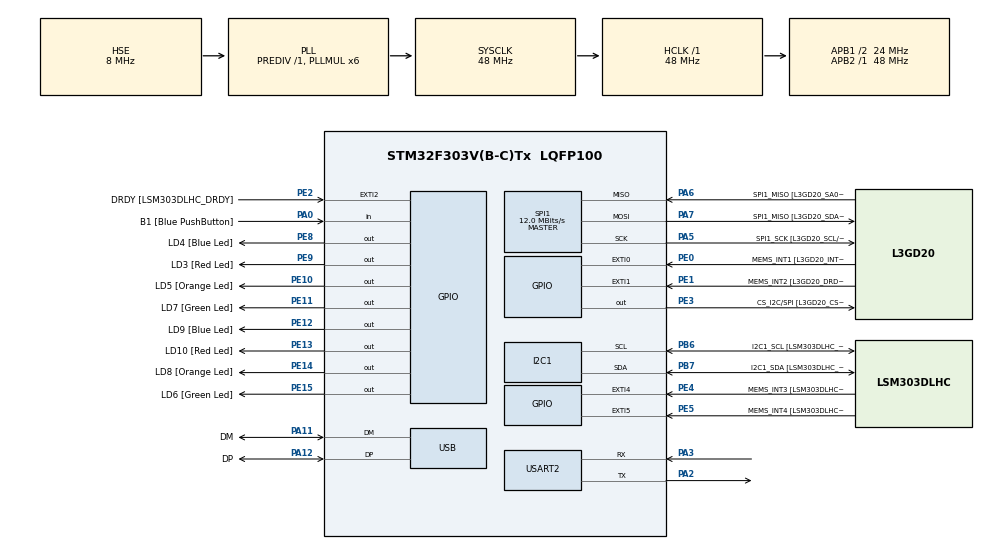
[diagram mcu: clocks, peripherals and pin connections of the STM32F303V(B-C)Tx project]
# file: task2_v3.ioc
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I2C1.Timing=0x00201D2B
I2C1.Timing-I2C=0x2000090E
Mcu.Family=STM32F3
Mcu.Name=STM32F303V(B-C)Tx
Mcu.Package=LQFP100
NVIC.PriorityGroup=NVIC_PRIORITYGROUP_0
PA0.GPIO_Label=B1 [Blue PushButton]
PA0.Signal=GPIO_Input
PA11.GPIO_Label=DM
PA11.Mode=Device
PA11.Signal=USB_DM
PA12.GPIO_Label=DP
PA12.Mode=Device
PA12.Signal=USB_DP
PA13.GPIO_Label=SWDIO
PA13.Mode=Serial_Wire
PA13.Signal=SYS_JTMS-SWDIO
PA14.GPIO_Label=SWCLK
PA14.Mode=Serial_Wire
PA14.Signal=SYS_JTCK-SWCLK
PA2.Mode=Asynchronous
PA2.Signal=USART2_TX
PA3.Mode=Asynchronous
PA3.Signal=USART2_RX
PA5.GPIO_Label=SPI1_SCK [L3GD20_SCL/SPC]
PA5.Mode=Full_Duplex_Master
PA5.Signal=SPI1_SCK
PA6.GPIO_Label=SPI1_MISO [L3GD20_SA0/SDO]
PA6.Mode=Full_Duplex_Master
PA6.Signal=SPI1_MISO
PA7.GPIO_Label=SPI1_MISO [L3GD20_SDA/SDI/SDO]
PA7.Mode=Full_Duplex_Master
PA7.Signal=SPI1_MOSI
PB3.GPIO_Label=SWO
PB3.Signal=SYS_JTDO-TRACESWO
PB6.GPIO_Label=I2C1_SCL [LSM303DLHC_SCL]
PB6.GPIO_Pu=GPIO_PULLUP
PB6.Mode=I2C
PB6.Signal=I2C1_SCL
PB7.GPIO_Label=I2C1_SDA [LSM303DLHC_SDA]
PB7.GPIO_Pu=GPIO_PULLUP
PB7.Mode=I2C
PB7.Signal=I2C1_SDA
PC14-OSC32_IN.GPIO_Label=OSC32_IN
PC14-OSC32_IN.Signal=RCC_OSC32_IN
PC15-OSC32_OUT.GPIO_Label=OSC32_OUT
PC15-OSC32_OUT.Signal=RCC_OSC32_OUT
PE0.GPIO_Label=MEMS_INT1 [L3GD20_INT1]
PE0.GPIO_ModeDefaultEXTI=GPIO_MODE_EVT_RISING
PE0.Signal=GPXTI0
PE1.GPIO_Label=MEMS_INT2 [L3GD20_DRDY/INT2]
PE1.GPIO_ModeDefaultEXTI=GPIO_MODE_EVT_RISING
PE1.Signal=GPXTI1
PE10.GPIO_Label=LD5 [Orange Led]
PE10.Signal=GPIO_Output
PE11.GPIO_Label=LD7 [Green Led]
PE11.Signal=GPIO_Output
PE12.GPIO_Label=LD9 [Blue Led]
PE12.Signal=GPIO_Output
PE13.GPIO_Label=LD10 [Red Led]
PE13.Signal=GPIO_Output
PE14.GPIO_Label=LD8 [Orange Led]
PE14.Signal=GPIO_Output
PE15.GPIO_Label=LD6 [Green Led]
PE15.Signal=GPIO_Output
PE2.GPIO_Label=DRDY [LSM303DLHC_DRDY]
PE2.GPIO_ModeDefaultEXTI=GPIO_MODE_EVT_RISING
PE2.Signal=GPXTI2
PE3.GPIO_Label=CS_I2C/SPI [L3GD20_CS_I2C/SPI]
PE3.Signal=GPIO_Output
PE4.GPIO_Label=MEMS_INT3 [LSM303DLHC_INT1]
PE4.GPIO_ModeDefaultEXTI=GPIO_MODE_EVT_RISING
PE4.Signal=GPXTI4
PE5.GPIO_Label=MEMS_INT4 [LSM303DLHC_INT2]
PE5.GPIO_ModeDefaultEXTI=GPIO_MODE_EVT_RISING
PE5.Signal=GPXTI5
PE8.GPIO_Label=LD4 [Blue Led]
PE8.Signal=GPIO_Output
PE9.GPIO_Label=LD3 [Red Led]
PE9.Signal=GPIO_Output
PF0-OSC_IN.GPIO_Label=OSC_IN
PF0-OSC_IN.Mode=HSE-External-Clock-Source
PF0-OSC_IN.Signal=RCC_OSC_IN
PF1-OSC_OUT.GPIO_Label=OSC_OUT
PF1-OSC_OUT.Signal=RCC_OSC_OUT
ProjectManager.HeapSize=0x200
ProjectManager.StackSize=0x400
ProjectManager.TargetToolchain=CMake
RCC.AHBFreq_Value=48000000
RCC.APB1CLKDivider=RCC_HCLK_DIV2
RCC.APB1Freq_Value=24000000
RCC.APB1TimFreq_Value=48000000
RCC.APB2Freq_Value=48000000
RCC.APB2TimFreq_Value=48000000
RCC.CortexFreq_Value=48000000
RCC.HCLKFreq_Value=48000000
RCC.HSE_VALUE=8000000
RCC.HSI_VALUE=8000000
RCC.LSE_VALUE=32768
RCC.PLLMUL=RCC_PLL_MUL6
RCC.SYSCLKFreq_VALUE=48000000
RCC.SYSCLKSourceVirtual=RCC_SYSCLKSOURCE_PLLCLK
RCC.USBFreq_Value=48000000
SPI1.BaudRatePrescaler=SPI_BAUDRATEPRESCALER_4
SPI1.BaudRatePrescaler-Full_Duplex_Master=SPI_BAUDRATEPRESCALER_2
SPI1.CalculateBaudRate=12.0 MBits/s
SPI1.CalculateBaudRate-Full_Duplex_Master=24.0 MBits/s
SPI1.Direction=SPI_DIRECTION_2LINES
SPI1.Mode=SPI_MODE_MASTER
SPI1.Mode-Full_Duplex_Master=SPI_MODE_MASTER
SPI1.VirtualType=VM_MASTER
USART2.VirtualMode-Asynchronous=VM_ASYNC
board=STM32F3DISCOVERY

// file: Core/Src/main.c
/* USER CODE BEGIN Header */
/**
  ******************************************************************************
  * @file           : main.c
  * @brief          : Main program body (Lab 9 Task 2)
  ******************************************************************************
  */
/* USER CODE END Header */
#include "main.h"
#include <stdint.h>
#include <stdio.h>
#include <stdarg.h>
#include <string.h>
#include <math.h>
/* USER CODE END Includes */

/* USER CODE BEGIN PD */

#define LSM_A_ADDR_8   (0x19 << 1)   // Accelerometer address
#define LSM_CTRL1_A    0x20
#define LSM_CTRL4_A    0x23
#define LSM_OUT_X_L    0x28
#define LSM_AUTO_INC   0x80
#define LSM_G_PER_LSB  0.0039f       // 3.9 mg/LSB
#define RAD_TO_DEG     57.2958f

/* USER CODE END PD */

I2C_HandleTypeDef hi2c1;
SPI_HandleTypeDef hspi1;
UART_HandleTypeDef huart2;
PCD_HandleTypeDef hpcd_USB_FS;

/* USER CODE BEGIN PV */

typedef struct {

    //raw
    int16_t ax, ay, az;
    int16_t gx, gy, gz;

    //scaled
    float ax1,ay1,az1;
    float gx1,gy1,gz1;

    //offsets
    float axo, ayo, azo;
    float gxo, gyo, gzo;

} values;

/* USER CODE END PV */

void SystemClock_Config(void);
static void MX_GPIO_Init(void);
static void MX_I2C1_Init(void);
static void MX_SPI1_Init(void);
static void MX_USART2_UART_Init(void);
static void MX_USB_PCD_Init(void);

/* USER CODE BEGIN 0 */

/* UART printf wrapper */
void print_lsm(const char *fmt, ...)
{
    char buffer[200];
    va_list args;
    va_start(args, fmt);
    vsnprintf(buffer, sizeof(buffer), fmt, args);
    va_end(args);
    HAL_UART_Transmit(&huart2, (uint8_t*)buffer, strlen(buffer), HAL_MAX_DELAY);
}

HAL_StatusTypeDef LSM_Accel_Init(void)
{
    uint8_t data = 0x57;
    if (HAL_I2C_Mem_Write(&hi2c1, 0x32, 0x20, I2C_MEMADD_SIZE_8BIT, &data, 1, 100) != HAL_OK)
        return HAL_ERROR;

    uint8_t bata = 0x00;
    if (HAL_I2C_Mem_Write(&hi2c1, 0x32, 0x23, I2C_MEMADD_SIZE_8BIT, &bata, 1, 100) != HAL_OK)
        return HAL_ERROR;

    return HAL_OK;
}

HAL_StatusTypeDef LSM_Accel_Read(values* s)
{
    uint8_t d[6];

    if (HAL_I2C_Mem_Read(&hi2c1, 0x33, (LSM_OUT_X_L | LSM_AUTO_INC), I2C_MEMADD_SIZE_8BIT, d, 6, 100) != HAL_OK)
        return HAL_ERROR;

    //raw values
    s->ax = (int16_t)((d[1] << 8) | d[0]);
    s->ay = (int16_t)((d[3] << 8) | d[2]);
    s->az = (int16_t)((d[5] << 8) | d[4]);

    int16_t tx = s->ax >> 4;
    int16_t ty = s->ay >> 4;
    int16_t tz = s->az >> 4;

    float acc_g_x = tx * LSM_G_PER_LSB;
    float acc_g_y = ty * LSM_G_PER_LSB;
    float acc_g_z = tz * LSM_G_PER_LSB;

    // scaled values (m/s^2) with calibration applied
    // NOTE: This assumes accel_calibrate is modified to store offsets in 'g' units.
    s->ax1 = (acc_g_x - s->axo) * 9.80665f;
    s->ay1 = (acc_g_y - s->ayo) * 9.80665f;
    s->az1 = (acc_g_z - s->azo) * 9.80665f;;

    return HAL_OK;
}

void accel_calibrate (values *s){

    float a1 = 0.0, a2 = 0.0, a3 = 0.0;

    s->axo = s->ayo = s->azo = 0.0;
    s->gxo = s->gyo = s->gzo = 0.0;

    for (int i = 0; i<20; i++){ //20 samples
        uint8_t d[6];

        // 1. Perform a direct I2C read inside calibration for g-based averaging
        if (HAL_I2C_Mem_Read(&hi2c1, 0x33, (LSM_OUT_X_L | LSM_AUTO_INC), I2C_MEMADD_SIZE_8BIT, d, 6, 100) != HAL_OK)
             return;
        // 2. Compute the g-values based on LSM303AGR 12-bit scale
        int16_t raw_ax = (int16_t)((d[1] << 8) | d[0]);
        int16_t raw_ay = (int16_t)((d[3] << 8) | d[2]);
        int16_t raw_az = (int16_t)((d[5] << 8) | d[4]);

        int16_t tx = raw_ax >> 4;
        int16_t ty = raw_ay >> 4;
        int16_t tz = raw_az >> 4;

        a1 += tx * LSM_G_PER_LSB; // Sum of Ax in g
        a2 += ty * LSM_G_PER_LSB; // Sum of Ay in g
        a3 += tz * LSM_G_PER_LSB; // Sum of Az in g

        HAL_Delay(10);
    }

    // Calculate the average offsets (in g)
    s->axo = a1/20;
    s->ayo = a2/20;
    // Az should read 1g when flat, so subtract 1.0f from the average to find the offset
    s->azo = (a3/20) - 1.0f;
}

/* USER CODE END 0 */

int main(void)
{

  HAL_Init();
  SystemClock_Config();

  MX_GPIO_Init();
  MX_I2C1_Init();
  MX_SPI1_Init();
  MX_USART2_UART_Init();
  MX_USB_PCD_Init();

  /* USER CODE BEGIN 2 */

  /* Keep CS HIGH for I2C mode */
  HAL_GPIO_WritePin(GPIOE, CS_I2C_SPI_Pin, GPIO_PIN_SET);
  values s;
  LSM_Accel_Init();
  HAL_Delay(50);

  accel_calibrate (&s);

  /* USER CODE END 2 */

  while (1)
  {
    /* USER CODE BEGIN WHILE */
    LSM_Accel_Read(&s);

    /* Print clean CSV for Python plot script */
    //print_lsm("%d  , %d  , %d\r\n", s.ax, s.ay,s.az);
    print_lsm("%f, %f, %f\r\n", s.ax1, s.ay1,s.az1);

    HAL_Delay(100);

    /* USER CODE END WHILE */
  }

}

/* The rest of the file (clock, I2C, SPI, UART, GPIO) remains unchanged */
void SystemClock_Config(void)
{
  RCC_OscInitTypeDef RCC_OscInitStruct = {0};
  RCC_ClkInitTypeDef RCC_ClkInitStruct = {0};
  RCC_PeriphCLKInitTypeDef PeriphClkInit = {0};

  /** Initializes the RCC Oscillators according to the specified parameters
  * in the RCC_OscInitTypeDef structure.
  */
  RCC_OscInitStruct.OscillatorType = RCC_OSCILLATORTYPE_HSI|RCC_OSCILLATORTYPE_HSE;
  RCC_OscInitStruct.HSEState = RCC_HSE_BYPASS;
  RCC_OscInitStruct.HSEPredivValue = RCC_HSE_PREDIV_DIV1;
  RCC_OscInitStruct.HSIState = RCC_HSI_ON;
  RCC_OscInitStruct.HSICalibrationValue = RCC_HSICALIBRATION_DEFAULT;
  RCC_OscInitStruct.PLL.PLLState = RCC_PLL_ON;
  RCC_OscInitStruct.PLL.PLLSource = RCC_PLLSOURCE_HSE;
  RCC_OscInitStruct.PLL.PLLMUL = RCC_PLL_MUL6;
  if (HAL_RCC_OscConfig(&RCC_OscInitStruct) != HAL_OK)
  {
    Error_Handler();
  }

  /** Initializes the CPU, AHB and APB buses clocks
  */
  RCC_ClkInitStruct.ClockType = RCC_CLOCKTYPE_HCLK|RCC_CLOCKTYPE_SYSCLK
                              |RCC_CLOCKTYPE_PCLK1|RCC_CLOCKTYPE_PCLK2;
  RCC_ClkInitStruct.SYSCLKSource = RCC_SYSCLKSOURCE_PLLCLK;
  RCC_ClkInitStruct.AHBCLKDivider = RCC_SYSCLK_DIV1;
  RCC_ClkInitStruct.APB1CLKDivider = RCC_HCLK_DIV2;
  RCC_ClkInitStruct.APB2CLKDivider = RCC_HCLK_DIV1;

  if (HAL_RCC_ClockConfig(&RCC_ClkInitStruct, FLASH_LATENCY_1) != HAL_OK)
  {
    Error_Handler();
  }
  PeriphClkInit.PeriphClockSelection = RCC_PERIPHCLK_USB|RCC_PERIPHCLK_USART2
                              |RCC_PERIPHCLK_I2C1;
  PeriphClkInit.Usart2ClockSelection = RCC_USART2CLKSOURCE_PCLK1;
  PeriphClkInit.I2c1ClockSelection = RCC_I2C1CLKSOURCE_HSI;
  PeriphClkInit.USBClockSelection = RCC_USBCLKSOURCE_PLL;
  if (HAL_RCCEx_PeriphCLKConfig(&PeriphClkInit) != HAL_OK)
  {
    Error_Handler();
  }
}

static void MX_I2C1_Init(void)
{

  hi2c1.Instance = I2C1;
  hi2c1.Init.Timing = 0x00201D2B;
  hi2c1.Init.OwnAddress1 = 0;
  hi2c1.Init.AddressingMode = I2C_ADDRESSINGMODE_7BIT;
  hi2c1.Init.DualAddressMode = I2C_DUALADDRESS_DISABLE;
  hi2c1.Init.OwnAddress2 = 0;
  hi2c1.Init.OwnAddress2Masks = I2C_OA2_NOMASK;
  hi2c1.Init.GeneralCallMode = I2C_GENERALCALL_DISABLE;
  hi2c1.Init.NoStretchMode = I2C_NOSTRETCH_DISABLE;
  if (HAL_I2C_Init(&hi2c1) != HAL_OK)
  {
    Error_Handler();
  }

  /** Configure Analogue filter
  */
  if (HAL_I2CEx_ConfigAnalogFilter(&hi2c1, I2C_ANALOGFILTER_ENABLE) != HAL_OK)
  {
    Error_Handler();
  }

  /** Configure Digital filter
  */
  if (HAL_I2CEx_ConfigDigitalFilter(&hi2c1, 0) != HAL_OK)
  {
    Error_Handler();
  }

}

static void MX_SPI1_Init(void)
{

  /* SPI1 parameter configuration*/
  hspi1.Instance = SPI1;
  hspi1.Init.Mode = SPI_MODE_MASTER;
  hspi1.Init.Direction = SPI_DIRECTION_2LINES;
  hspi1.Init.DataSize = SPI_DATASIZE_4BIT;
  hspi1.Init.CLKPolarity = SPI_POLARITY_LOW;
  hspi1.Init.CLKPhase = SPI_PHASE_1EDGE;
  hspi1.Init.NSS = SPI_NSS_SOFT;
  hspi1.Init.BaudRatePrescaler = SPI_BAUDRATEPRESCALER_4;
  hspi1.Init.FirstBit = SPI_FIRSTBIT_MSB;
  hspi1.Init.TIMode = SPI_TIMODE_DISABLE;
  hspi1.Init.CRCCalculation = SPI_CRCCALCULATION_DISABLE;
  hspi1.Init.CRCPolynomial = 7;
  hspi1.Init.CRCLength = SPI_CRC_LENGTH_DATASIZE;
  hspi1.Init.NSSPMode = SPI_NSS_PULSE_ENABLE;
  if (HAL_SPI_Init(&hspi1) != HAL_OK)
  {
    Error_Handler();
  }

}

static void MX_USART2_UART_Init(void)
{

  huart2.Instance = USART2;
  huart2.Init.BaudRate = 115200;
  huart2.Init.WordLength = UART_WORDLENGTH_8B;
  huart2.Init.StopBits = UART_STOPBITS_1;
  huart2.Init.Parity = UART_PARITY_NONE;
  huart2.Init.Mode = UART_MODE_TX_RX;
  huart2.Init.HwFlowCtl = UART_HWCONTROL_NONE;
  huart2.Init.OverSampling = UART_OVERSAMPLING_16;
  huart2.Init.OneBitSampling = UART_ONE_BIT_SAMPLE_DISABLE;
  huart2.AdvancedInit.AdvFeatureInit = UART_ADVFEATURE_NO_INIT;
  if (HAL_UART_Init(&huart2) != HAL_OK)
  {
    Error_Handler();
  }

}

static void MX_USB_PCD_Init(void)
{

  hpcd_USB_FS.Instance = USB;
  hpcd_USB_FS.Init.dev_endpoints = 8;
  hpcd_USB_FS.Init.speed = PCD_SPEED_FULL;
  hpcd_USB_FS.Init.phy_itface = PCD_PHY_EMBEDDED;
  hpcd_USB_FS.Init.low_power_enable = DISABLE;
  hpcd_USB_FS.Init.battery_charging_enable = DISABLE;
  if (HAL_PCD_Init(&hpcd_USB_FS) != HAL_OK)
  {
    Error_Handler();
  }

}

static void MX_GPIO_Init(void)
{
  GPIO_InitTypeDef GPIO_InitStruct = {0};

  /* GPIO Ports Clock Enable */
  __HAL_RCC_GPIOE_CLK_ENABLE();
  __HAL_RCC_GPIOC_CLK_ENABLE();
  __HAL_RCC_GPIOF_CLK_ENABLE();
  __HAL_RCC_GPIOA_CLK_ENABLE();
  __HAL_RCC_GPIOB_CLK_ENABLE();

  /*Configure GPIO pin Output Level */
  HAL_GPIO_WritePin(GPIOE, CS_I2C_SPI_Pin|LD4_Pin|LD3_Pin|LD5_Pin
                          |LD7_Pin|LD9_Pin|LD10_Pin|LD8_Pin
                          |LD6_Pin, GPIO_PIN_RESET);

  /*Configure GPIO pins : DRDY_Pin MEMS_INT3_Pin MEMS_INT4_Pin MEMS_INT1_Pin
                           MEMS_INT2_Pin */
  GPIO_InitStruct.Pin = DRDY_Pin|MEMS_INT3_Pin|MEMS_INT4_Pin|MEMS_INT1_Pin
                          |MEMS_INT2_Pin;
  GPIO_InitStruct.Mode = GPIO_MODE_EVT_RISING;
  GPIO_InitStruct.Pull = GPIO_NOPULL;
  HAL_GPIO_Init(GPIOE, &GPIO_InitStruct);

  /*Configure GPIO pins : CS_I2C_SPI_Pin LD4_Pin LD3_Pin LD5_Pin
                           LD7_Pin LD9_Pin LD10_Pin LD8_Pin
                           LD6_Pin */
  GPIO_InitStruct.Pin = CS_I2C_SPI_Pin|LD4_Pin|LD3_Pin|LD5_Pin
                          |LD7_Pin|LD9_Pin|LD10_Pin|LD8_Pin
                          |LD6_Pin;
  GPIO_InitStruct.Mode = GPIO_MODE_OUTPUT_PP;
  GPIO_InitStruct.Pull = GPIO_NOPULL;
  GPIO_InitStruct.Speed = GPIO_SPEED_FREQ_LOW;
  HAL_GPIO_Init(GPIOE, &GPIO_InitStruct);

  /*Configure GPIO pin : B1_Pin */
  GPIO_InitStruct.Pin = B1_Pin;
  GPIO_InitStruct.Mode = GPIO_MODE_INPUT;
  GPIO_InitStruct.Pull = GPIO_NOPULL;
  HAL_GPIO_Init(B1_GPIO_Port, &GPIO_InitStruct);

}

void Error_Handler(void)
{
  __disable_irq();
  while (1)
  {
  }
}
